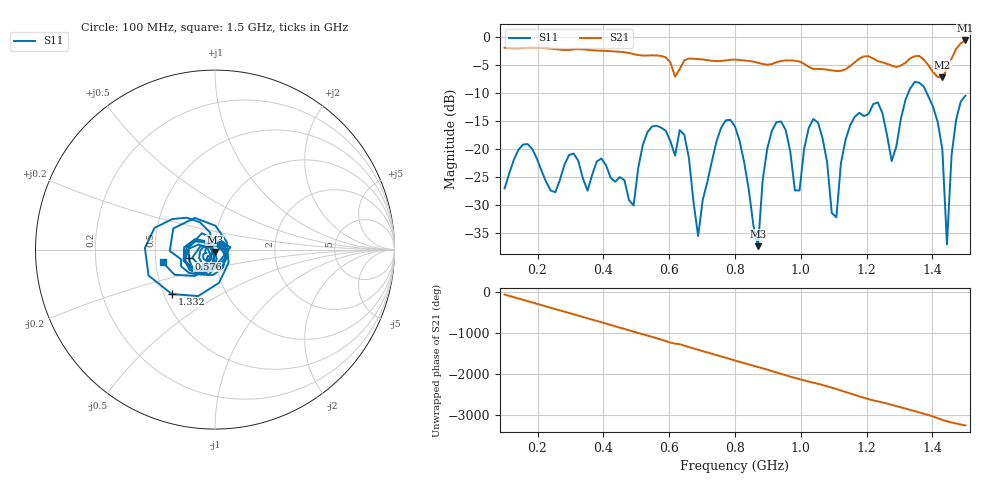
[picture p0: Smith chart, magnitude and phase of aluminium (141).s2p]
! NanoVNA-App
! Date: 2025-09-25 14:56:22
! Start: 100MHz Stop: 1,5GHz Points: 101
! S-Parameter data: F S11 S21 S12 S22
# Hz S RI R 50
!  Frequency  S11_Real  S11_Imag  S21_Real  S21_Imag  S12_Real  S12_Imag  S22_Real  S22_Imag
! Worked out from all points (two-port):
!   101 points, 100 MHz to 1.5 GHz, reference 50 ohm
!   highest |S21| = -0.63 dB at 1.5 GHz (marker M1); lowest = -7.2 dB at 1.43 GHz (marker M2)
!   |S21| within 3 dB of the highest: start of sweep to 588.8 MHz; 1.46 GHz to end of sweep (the widest 2 of 4)
!   lowest |S11| = -37.3 dB at 870 MHz (marker M3), VSWR 1.03, Z = 49.8 - j1.35 ohm
!   |S11| at or under -10 dB: start of sweep to 1.327 GHz; 1.383 GHz to end of sweep
!   S12 and S22 are empty: the file has one direction only
!   S11 on the Smith chart (normalised r, x): 100 MHz: 1.07, +0.06; 576 MHz: 0.74, -0.07; 1.332 GHz: 0.55, -0.31; 1.5 GHz: 0.55, -0.09
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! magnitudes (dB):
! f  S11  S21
! 100 MHz  -27.0  -1.9
! 156 MHz  -19.2  -2.0
! 338 MHz  -25.2  -2.2
! 492 MHz  -30.0  -3.0
! 576 MHz  -16.2  -3.4
! 646 MHz  -17.4  -4.2
! 688 MHz  -35.5  -4.0
! 744 MHz  -18.6  -4.3
! 800 MHz  -16.0  -4.0
! 870 MHz  -37.3  -4.6
! 912 MHz  -16.8  -4.8
! 996 MHz  -27.4  -4.4
! 1.038 GHz  -14.6  -5.7
! 1.108 GHz  -32.1  -6.1
! 1.164 GHz  -14.2  -4.5
! 1.234 GHz  -11.7  -4.3
! 1.276 GHz  -22.1  -5.1
! 1.332 GHz  -9.2  -3.8
! 1.43 GHz  -20.1  -7.2
! 1.444 GHz  -37.0  -5.8
! 1.458 GHz  -21.1  -3.8
! 1.5 GHz  -10.5  -0.6
